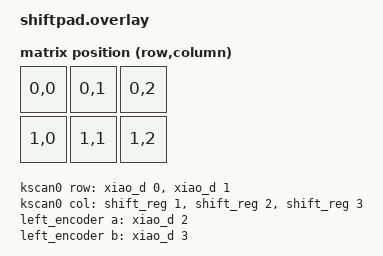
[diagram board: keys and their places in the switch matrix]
#include <dt-bindings/zmk/matrix_transform.h>

&xiao_spi {
    status = "okay";
    cs-gpios = <&xiao_d 7 GPIO_ACTIVE_LOW>;
    shift_reg: 74HC595@0 {
        compatible = "zmk,gpio-595";
        status = "okay";
        gpio-controller;
        spi-max-frequency = <200000>;
        reg = <0>;
        #gpio-cells = <2>;
        ngpios = <8>;
    };
};

&xiao_serial { status = "disabled"; };

&xiao_i2c {
    status = "okay";

    oled: ssd1306@3c {
        compatible = "solomon,ssd1306fb";
        reg = <0x3c>;
        width = <128>;
        height = <64>;
        segment-offset = <0>;
        page-offset = <0>;
        display-offset = <0>;
        multiplex-ratio = <63>;
        prechargep = <0x22>;
        segment-remap;
        com-invdir;
    };
};

/ {
    chosen {
        zephyr,display = &oled;
        zmk,kscan = &kscan0;
        zmk,matrix_transform = &default_transform;
    };

    kscan0: kscan_0 {
        compatible = "zmk,kscan-gpio-matrix";
        diode-direction = "col2row";

        col-gpios
            = <&shift_reg 1 (GPIO_ACTIVE_HIGH)>
            , <&shift_reg 2 (GPIO_ACTIVE_HIGH)>
            , <&shift_reg 3 (GPIO_ACTIVE_HIGH)>
            ;

        row-gpios
            = <&xiao_d 0 (GPIO_ACTIVE_HIGH | GPIO_PULL_DOWN)>
            , <&xiao_d 1 (GPIO_ACTIVE_HIGH | GPIO_PULL_DOWN)>
            ;
    };

    default_transform: keymap_transform_0 {
        compatible = "zmk,matrix-transform";
        columns = <3>;
        rows = <2>;
        map = <
RC(0,0) RC(0,1) RC(0,2)
RC(1,0) RC(1,1) RC(1,2)
        >;
    };

    left_encoder: left_encoder {
        compatible = "alps,ec11";
        a-gpios = <&xiao_d 2 (GPIO_ACTIVE_HIGH | GPIO_PULL_UP)>;
        b-gpios = <&xiao_d 3 (GPIO_ACTIVE_HIGH | GPIO_PULL_UP)>;
        steps = <80>;
        status = "disabled";
    };

    sensors: sensors {
        compatible = "zmk,keymap-sensors";
        sensors = <&left_encoder>;
        triggers-per-rotation = <20>;
    };
};

&left_encoder {
    status = "okay";
};
